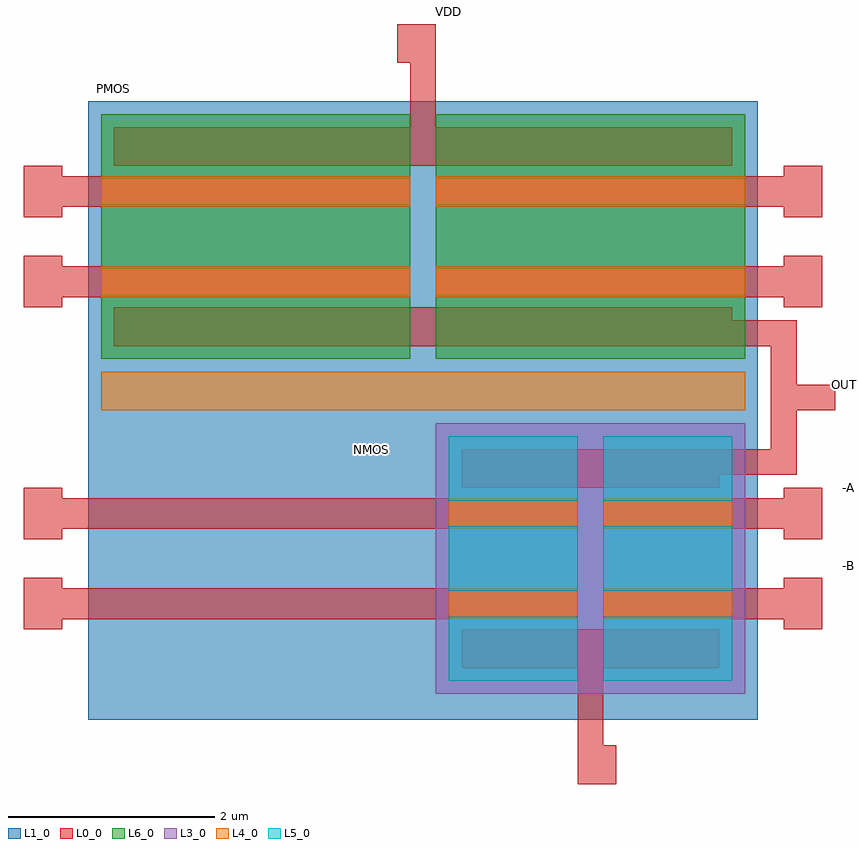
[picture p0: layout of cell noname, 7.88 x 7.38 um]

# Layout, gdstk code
import gdstk
lib = gdstk.Library(unit=1e-6, precision=1e-09)
def R(c, l, rs):  # rectangles x0, y0, x1, y1
    for r in rs: c.add(gdstk.rectangle(r[:2], r[2:], *l))
def A(c, l, x, y, w, h, nx, ny, dx, dy):  # array of equal rectangles
    R(c, l, [(x+i*dx, y+j*dy, x+i*dx+w, y+j*dy+h) for i in range(nx) for j in range(ny)])
L0_0 = (0, 0)
L1_0 = (1, 0)
L3_0 = (3, 0)
L4_0 = (4, 0)
L5_0 = (5, 0)
L6_0 = (6, 0)

noname = lib.new_cell('noname')
A(noname, L0_0, 1, -2.875, 0.125, 0.125, 3, 2, 0.25, 1.75)
A(noname, L0_0, 2.5, -2.875, 0.125, 0.125, 3, 2, 0.25, 1.75)
A(noname, L0_0, -2.375, 0.25, 0.125, 0.125, 10, 2, 0.25, 1.75)
A(noname, L0_0, 1, 0.25, 0.125, 0.125, 10, 2, 0.25, 1.75)
R(noname, L0_0, [(2,-4.125,2.375,-3.75), (2.125,-4,2.25,-3.875), (2,-3.75,2.25,-3), (0.875,-3,3.375,-2.625), (-3.375,-2.625,-3,-2.125), (4,-2.625,4.375,-2.125), (-3,-2.525,2,-2.225), (2.25,-2.525,4,-2.225), (-3.25,-2.5,-3.125,-2.25), (4.125,-2.5,4.25,-2.25), (-3.375,-1.75,-3,-1.25), (4,-1.75,4.375,-1.25), (-3,-1.65,2,-1.35), (2.25,-1.65,4,-1.35), (-3.25,-1.625,-3.125,-1.375), (4.125,-1.625,4.25,-1.375), (0.875,-1.25,3.375,-0.875), (3.375,-1.125,4.125,-0.875), (3.875,-0.875,4.125,0.125), (4.125,-0.5,4.5,-0.25), (-2.5,0.125,3.5,0.5), (3.5,0.125,4.125,0.375), (-3.375,0.5,-3,1), (4,0.5,4.375,1), (-3,0.6,0.375,0.9), (0.625,0.6,4,0.9), (-3.25,0.625,-3.125,0.875), (4.125,0.625,4.25,0.875), (-3.375,1.375,-3,1.875), (4,1.375,4.375,1.875), (-3,1.475,0.375,1.775), (0.625,1.475,4,1.775), (-3.25,1.5,-3.125,1.75), (4.125,1.5,4.25,1.75), (-2.5,1.875,3.5,2.25), (0.375,2.25,0.625,2.875), (0.25,2.875,0.625,3.25), (0.375,3,0.5,3.125)])
R(noname, L1_0, [(-2.75,-3.5,3.75,2.5)])
R(noname, L3_0, [(0.625,-3.25,3.625,-0.625)])
R(noname, L4_0, [(0.75,-2.525,2,-2.225), (2.25,-2.525,3.5,-2.225), (0.75,-1.65,2,-1.35), (2.25,-1.65,3.5,-1.35), (-2.625,-0.5,3.625,-0.125), (-2.625,0.6,0.375,0.9), (0.625,0.6,3.625,0.9), (-2.625,1.475,0.375,1.775), (0.625,1.475,3.625,1.775)])
A(noname, L5_0, 0.75, -3.125, 1.25, 0.625, 1, 3, 0, 0.875)
A(noname, L5_0, 2.25, -3.125, 1.25, 0.625, 1, 3, 0, 0.875)
A(noname, L6_0, -2.625, 0, 3, 0.625, 1, 3, 0, 0.875)
A(noname, L6_0, 0.625, 0, 3, 0.625, 1, 3, 0, 0.875)
noname.add(gdstk.Label('Generated with the LayoutEditor (This message will NOT added in any commercial version of the LayoutEditor.)', (-4.5,4.75), layer=4, texttype=13476))
noname.add(gdstk.Label('Generated with the LayoutEditor (This message will NOT added in any commercial version of the LayoutEditor.)', (-4.5,4.75), layer=4, texttype=13476))
noname.add(gdstk.Label('PMOS', (-2.5,2.625), layer=0, texttype=0))
noname.add(gdstk.Label('NMOS', (0,-0.875), layer=0, texttype=0))
noname.add(gdstk.Label('Generated with the LayoutEditor (This message will NOT added in any commercial version of the LayoutEditor.)', (-4.5,4.75), layer=4, texttype=13476))
noname.add(gdstk.Label('Generated with the LayoutEditor (This message will NOT added in any commercial version of the LayoutEditor.)', (-4.5,4.75), layer=4, texttype=13476))
noname.add(gdstk.Label('VDD', (0.75,3.375), layer=0, texttype=0))
noname.add(gdstk.Label('GND', (2,-4.5), layer=0, texttype=0))
noname.add(gdstk.Label('A', (-3.875,-1), layer=0, texttype=0))
noname.add(gdstk.Label('B', (-3.875,-2), layer=0, texttype=0))
noname.add(gdstk.Label('-A', (4.625,-1.25), layer=0, texttype=0))
noname.add(gdstk.Label('-B', (4.625,-2), layer=0, texttype=0))
noname.add(gdstk.Label('-A', (-3.75,1.625), layer=0, texttype=0))
noname.add(gdstk.Label('B', (-3.75,0.75), layer=0, texttype=0))
noname.add(gdstk.Label('A', (4.75,1.625), layer=0, texttype=0))
noname.add(gdstk.Label('-B', (4.75,0.75), layer=0, texttype=0))
noname.add(gdstk.Label('OUT', (4.625,-0.25), layer=0, texttype=0))
noname.add(gdstk.Label('Generated with the LayoutEditor (This message will NOT added in any commercial version of the LayoutEditor.)', (-4.5,4.75), layer=4, texttype=13476))

lib.write_gds('noname.gds')
